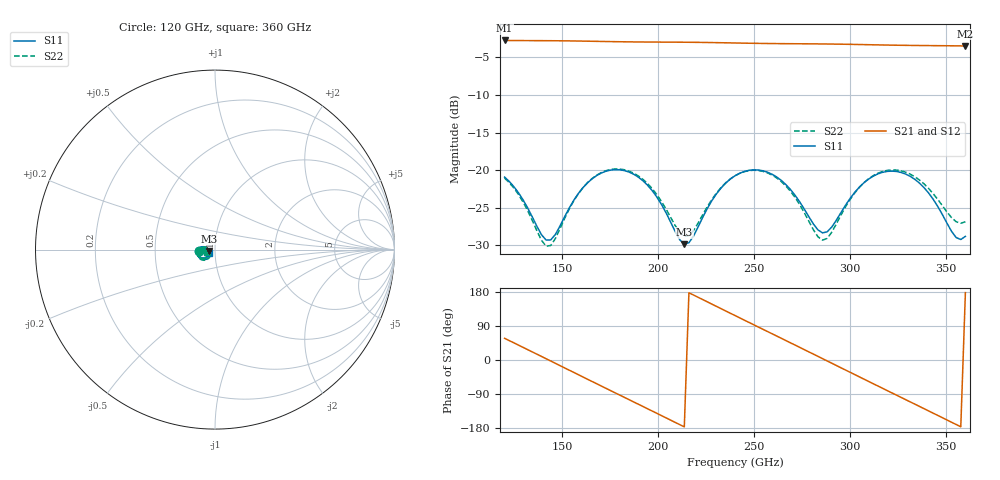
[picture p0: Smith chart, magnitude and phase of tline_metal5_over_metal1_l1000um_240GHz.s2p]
#  GHZ S DB R 50
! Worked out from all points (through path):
!   101 points, 120 GHz to 360 GHz, reference 50 ohm
!   highest |S21| = -2.74 dB at 120 GHz (marker M1); lowest = -3.5 dB at 360 GHz (marker M2)
!   group delay of S21, straight-line fit = 6.94 ps
!   lowest |S11| = -29.9 dB at 213.6 GHz (marker M3), VSWR 1.07, Z = 47 - j0.718 ohm
!   |S11| at or under -10 dB: start of sweep to end of sweep
!   |S22| runs from -30.1 to -19.8 dB; largest |S21 - S12| = 8e-14
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120  -20.93 -175.4  -2.74 57.2  -2.74 57.2  -21.07 -176.3
132  -25.03 173.3  -2.76 27.4  -2.76 27.4  -25.39 171.8
141.6  -29.31 -163.7  -2.78 3.4  -2.78 3.4  -30.13 -162.5
151.2  -26.24 -130.7  -2.80 -20.7  -2.80 -20.7  -26.47 -126.7
160.8  -22.34 -133.7  -2.83 -44.8  -2.83 -44.8  -22.35 -130.8
170.4  -20.39 -147.8  -2.87 -68.8  -2.87 -68.8  -20.33 -145.4
180  -19.96 -164.4  -2.92 -92.7  -2.92 -92.7  -19.86 -162.1
189.6  -20.93 179.5  -2.94 -116.6  -2.94 -116.6  -20.77 -178.1
201.6  -24.52 166.5  -2.96 -146.5  -2.96 -146.5  -24.14 169.5
213.6  -29.86 -166.3  -2.98 -176.5  -2.98 -176.5  -28.82 -166.9
225.6  -25.10 -132.1  -3.02 153.4  -3.02 153.4  -24.86 -135.9
240  -20.76 -146.6  -3.08 117.3  -3.08 117.3  -20.76 -149.0
249.6  -19.97 -162.2  -3.12 93.4  -3.12 93.4  -20.02 -164.3
259.2  -20.54 -177.6  -3.16 69.5  -3.16 69.5  -20.65 -179.8
280.8  -27.16 175.7  -3.20 15.6  -3.20 15.6  -27.93 173.7
288  -28.21 -158.7  -3.22 -2.5  -3.22 -2.5  -29.09 -155.9
300  -23.76 -140.3  -3.26 -32.6  -3.26 -32.6  -23.89 -136.2
312  -20.80 -152.3  -3.32 -62.6  -3.32 -62.6  -20.74 -149.0
321.6  -20.14 -167.0  -3.37 -86.5  -3.37 -86.5  -19.98 -163.6
338.4  -22.32 169.0  -3.42 -128.3  -3.42 -128.3  -21.82 173.7
355.2  -28.98 -175.4  -3.46 -170.3  -3.46 -170.3  -26.87 -175.1
360  -28.82 -153.3  -3.48 177.7  -3.48 177.7  -26.88 -160.2
